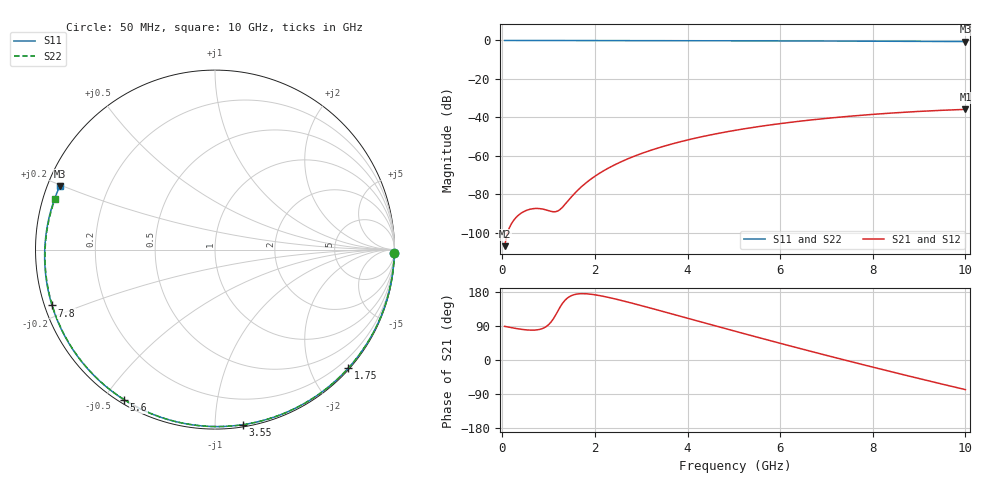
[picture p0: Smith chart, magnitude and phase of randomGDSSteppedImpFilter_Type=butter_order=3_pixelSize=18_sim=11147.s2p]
! freq	dB(S11)	phase(S11)	dB(S12)	phase(S12)
!  dB(S21)	phase(S21)	dB(S22)	phase(S22)
!S-par simulation data
#  GHz  S  DB  R 50
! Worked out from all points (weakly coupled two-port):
!   200 points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, 50 MHz to 10 GHz, reference 50 ohm
!   highest |S21| = -35.88 dB at 10 GHz (marker M1); lowest = -107.1 dB at 50 MHz (marker M2)
!   lowest |S11| = -0.6 dB at 10 GHz (marker M3), VSWR 29.45, Z = 1.76 + j9.84 ohm
!   |S11| at or under -10 dB: nowhere
!   |S22| runs from -0.6 to 0.0 dB; largest |S21 - S12| = 0
!   S11 on the Smith chart (normalised r, x): 50 MHz: 1, -97; 1.75 GHz: 0.02, -2.63; 3.55 GHz: 0.01, -1.17; 5.6 GHz: 0.01, -0.56; 7.8 GHz: 0.02, -0.17; 10 GHz: 0.04, +0.20
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0.05  -0.00 -1.2  -107.08 88.8  -107.08 88.8  -0.00 -1.2
0.45  -0.02 -10.9  -89.27 80.4  -89.27 80.4  -0.02 -10.6
0.8  -0.02 -19.3  -87.52 80.6  -87.52 80.6  -0.02 -18.8
1.15  -0.03 -27.6  -89.15 118.3  -89.15 118.3  -0.03 -26.9
1.55  -0.05 -37.0  -79.91 172.3  -79.91 172.3  -0.05 -36.0
1.75  -0.05 -41.6  -75.29 175.0  -75.29 175.0  -0.05 -40.6
2.05  -0.06 -48.4  -69.89 171.1  -69.89 171.1  -0.06 -47.2
2.25  -0.07 -52.9  -66.99 166.3  -66.99 166.3  -0.07 -51.7
2.45  -0.07 -57.4  -64.47 160.8  -64.47 160.8  -0.07 -56.0
2.9  -0.09 -67.3  -59.79 146.8  -59.79 146.8  -0.08 -65.6
3.4  -0.10 -77.9  -55.70 130.4  -55.70 130.4  -0.10 -76.1
3.55  -0.11 -81.0  -54.64 125.4  -54.64 125.4  -0.10 -79.1
4.3  -0.13 -96.2  -50.16 100.2  -50.16 100.2  -0.13 -94.0
5.05  -0.17 -110.8  -46.69 75.2  -46.69 75.2  -0.16 -108.4
5.6  -0.20 -121.2  -44.61 57.1  -44.61 57.1  -0.19 -118.5
6.15  -0.23 -131.3  -42.83 39.2  -42.83 39.2  -0.22 -128.5
6.7  -0.27 -141.3  -41.30 21.7  -41.30 21.7  -0.26 -138.2
7.25  -0.31 -151.2  -39.99 4.4  -39.99 4.4  -0.30 -147.9
7.8  -0.36 -161.1  -38.85 -12.7  -38.85 -12.7  -0.35 -157.6
8.35  -0.41 -171.1  -37.88 -29.5  -37.88 -29.5  -0.40 -167.3
9.2  -0.50 173.2  -36.69 -54.9  -36.69 -54.9  -0.49 177.3
10  -0.59 157.7  -35.88 -78.2  -35.88 -78.2  -0.59 162.3
